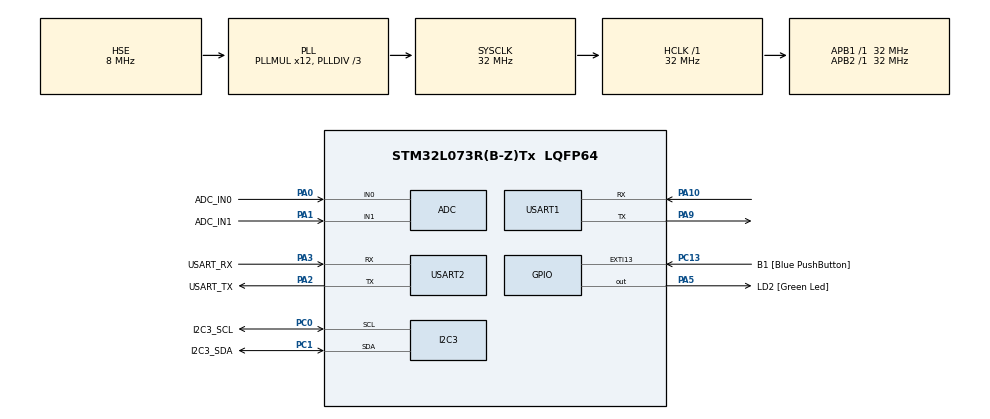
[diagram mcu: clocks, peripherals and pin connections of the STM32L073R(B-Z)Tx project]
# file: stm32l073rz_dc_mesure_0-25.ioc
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ADC.ClockPrescaler=ADC_CLOCK_ASYNC_DIV1
ADC.ContinuousConvMode=DISABLE
ADC.SamplingTime=ADC_SAMPLETIME_79CYCLES_5
Dma.ADC.0.Direction=DMA_PERIPH_TO_MEMORY
Dma.ADC.0.Instance=DMA1_Channel1
Dma.ADC.0.MemDataAlignment=DMA_MDATAALIGN_HALFWORD
Dma.ADC.0.MemInc=DMA_MINC_ENABLE
Dma.ADC.0.Mode=DMA_NORMAL
Dma.ADC.0.PeriphDataAlignment=DMA_PDATAALIGN_HALFWORD
Dma.ADC.0.PeriphInc=DMA_PINC_DISABLE
Dma.ADC.0.Priority=DMA_PRIORITY_LOW
Dma.Request0=ADC
I2C3.Timing=0x00707CBB
Mcu.Family=STM32L0
Mcu.Name=STM32L073R(B-Z)Tx
Mcu.Package=LQFP64
NVIC.ADC1_COMP_IRQn=true\:0\:0\:false\:false\:true\:true\:true\:true
NVIC.DMA1_Channel1_IRQn=true\:0\:0\:false\:false\:true\:false\:true\:true
NVIC.TIM6_DAC_IRQn=true\:0\:0\:false\:false\:true\:true\:true\:true
NVIC.USART2_IRQn=true\:0\:0\:false\:false\:true\:true\:true\:true
PA0.GPIO_Label=ADC_IN0
PA0.Mode=IN0
PA0.Signal=ADC_IN0
PA1.GPIO_Label=ADC_IN1
PA1.Mode=IN1
PA1.Signal=ADC_IN1
PA10.Mode=Asynchronous
PA10.Signal=USART1_RX
PA13.GPIO_Label=TMS
PA13.Mode=Serial_Wire
PA13.Signal=SYS_SWDIO
PA14.GPIO_Label=TCK
PA14.Mode=Serial_Wire
PA14.Signal=SYS_SWCLK
PA2.GPIO_Label=USART_TX
PA2.Mode=Asynchronous
PA2.Signal=USART2_TX
PA3.GPIO_Label=USART_RX
PA3.Mode=Asynchronous
PA3.Signal=USART2_RX
PA5.GPIO_Label=LD2 [Green Led]
PA5.Signal=GPIO_Output
PA9.Mode=Asynchronous
PA9.Signal=USART1_TX
PC0.GPIO_Label=I2C3_SCL
PC0.Mode=I2C
PC0.Signal=I2C3_SCL
PC1.GPIO_Label=I2C3_SDA
PC1.Mode=I2C
PC1.Signal=I2C3_SDA
PC13.GPIO_Label=B1 [Blue PushButton]
PC13.GPIO_ModeDefaultEXTI=GPIO_MODE_IT_FALLING
PC13.Signal=GPXTI13
PC14-OSC32_IN.Mode=LSE-External-Oscillator
PC14-OSC32_IN.Signal=RCC_OSC32_IN
PC15-OSC32_OUT.Mode=LSE-External-Oscillator
PC15-OSC32_OUT.Signal=RCC_OSC32_OUT
PH0-OSC_IN.GPIO_Label=MCO
PH0-OSC_IN.Mode=HSE-External-Clock-Source
PH0-OSC_IN.Signal=RCC_OSC_IN
ProjectManager.HeapSize=0x200
ProjectManager.StackSize=0x400
ProjectManager.TargetToolchain=MDK-ARM V5.32
RCC.AHBFreq_Value=32000000
RCC.APB1Freq_Value=32000000
RCC.APB1TimFreq_Value=32000000
RCC.APB2Freq_Value=32000000
RCC.APB2TimFreq_Value=32000000
RCC.HCLKFreq_Value=32000000
RCC.HSE_VALUE=8000000
RCC.HSI16_VALUE=16000000
RCC.HSI48_VALUE=48000000
RCC.HSI_VALUE=16000000
RCC.MSI_VALUE=2097000
RCC.PLLDIV=RCC_PLLDIV_3
RCC.PLLMUL=RCC_PLLMUL_12
RCC.PLLSourceVirtual=RCC_PLLSOURCE_HSE
RCC.PREFETCH_ENABLE=1
RCC.SYSCLKFreq_VALUE=32000000
RCC.SYSCLKSource=RCC_SYSCLKSOURCE_PLLCLK
RCC.VCOOutputFreq_Value=96000000
TIM6.AutoReloadPreload=TIM_AUTORELOAD_PRELOAD_ENABLE
TIM6.Period=128
TIM6.Prescaler=25000
USART1.VirtualMode-Asynchronous=VM_ASYNC
USART2.VirtualMode-Asynchronous=VM_ASYNC
VP_TIM6_VS_ClockSourceINT.Mode=Enable_Timer
board=NUCLEO-L073RZ

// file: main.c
/* USER CODE BEGIN Header */
/**
  ******************************************************************************
  * @file           : main.c
  * @brief          : Main program body
  ******************************************************************************
  * @attention
  *
  * Copyright (c) 2024 STMicroelectronics.
  * All rights reserved.
  *
  * This software is licensed under terms that can be found in the LICENSE file
  * in the root directory of this software component.
  * If no LICENSE file comes with this software, it is provided AS-IS.
  *
  ******************************************************************************
  */
/* USER CODE END Header */
#include "main.h"

/* USER CODE BEGIN Includes */
#include "math.h"
#include "sc_types.h"
#include "Statechart.h"
#include "Statechart_required.h"

#include "ssd1306.h"
#include "fonts.h"
#include <stdio.h>

/* USER CODE END Includes */

ADC_HandleTypeDef hadc;
DMA_HandleTypeDef hdma_adc;

I2C_HandleTypeDef hi2c3;

TIM_HandleTypeDef htim6;

UART_HandleTypeDef huart1;
UART_HandleTypeDef huart2;

void SystemClock_Config(void);
static void MX_GPIO_Init(void);
static void MX_DMA_Init(void);
static void MX_ADC_Init(void);
static void MX_I2C3_Init(void);
static void MX_TIM6_Init(void);
static void MX_USART1_UART_Init(void);
static void MX_USART2_UART_Init(void);

/* USER CODE BEGIN 0 */
#define BUFFERLEN 20
#define NUM_ADC_CHANNELS 2

//uint16_t Voltage[NUM_ADC_CHANNELS];
uint16_t DataBufferADC[BUFFERLEN][NUM_ADC_CHANNELS];
uint32_t  SumSensorsADC[NUM_ADC_CHANNELS];
float AverageSensorsADC[NUM_ADC_CHANNELS];

Statechart sc_handle; // Statechart pointer

/* Definition of ADCx conversions data table size */
#define ADC_CONVERTED_DATA_BUFFER_SIZE ((uint32_t) 32) /* Size of array aADCxConvertedData[] */
/* Variable containing ADC conversions data */
static uint16_t aADCxConvertedData[ADC_CONVERTED_DATA_BUFFER_SIZE];

uint16_t voltage[NUM_ADC_CHANNELS];
float NTC_Voltage[2];
float LDR_Voltage[2];
float LDR_Voltage2[2];
int outvoltage[2];
int outvoltage2[2];
uint8_t TxBuffer[40];
uint8_t RxBuffer[40];
int i;
typedef enum {UART_READY,UART_BUSY,UART_FINISHED} UART_Status;
UART_Status Status=UART_READY;

void HAL_UART_TxCpltCallback(UART_HandleTypeDef *huart)
{
if (Status==UART_BUSY)
 Status=UART_READY; // transmition finished, can send more if needed
}
void HandleError()
{
uint32_t uart_err;
uart_err=HAL_UART_GetError(&huart2);
}
void MyErrorHandlerADC()
{
}

/* Start ADC conversion in channal whose number is passed as parameter "channel"*/
sc_integer statechart_startConvADC( Statechart* handle, const sc_integer channel)
{
		if (HAL_ADC_Start_DMA(&hadc,(uint32_t *)aADCxConvertedData,
						NUM_ADC_CHANNELS) != HAL_OK)
			{
			MyErrorHandlerADC();// handle error};
			return 0;
			}
 return 1;
}

/* Read ADC sample from register and store in DataBUffer */
sc_integer statechart_readADCSample( Statechart* handle, const sc_integer channel)
{
		if (channel==1) // read from DMA memory when all channels are sampled
		{
		 voltage[0]=aADCxConvertedData[0];
		 voltage[1]=aADCxConvertedData[1];
		 }
 return 1;
}
sc_integer statechart_saveADCSample( Statechart* handle, const sc_integer channel, const sc_integer sample)
{
for (int i=0;i<NUM_ADC_CHANNELS;i++)
	DataBufferADC[sample][i]=voltage[i];
 return 1;
}

/* Calculate average values of acquired sensor readings */
void statechart_processData(Statechart* handle)
{
 int j;
 uint32_t sum2[NUM_ADC_CHANNELS];

 for( j=0;j<NUM_ADC_CHANNELS;j++)
		sum2[j]=0;
 for(int i=0;i<BUFFERLEN;i++)
 {
	for(j=0;j<NUM_ADC_CHANNELS;j++)
		sum2[j]+=DataBufferADC[i][j];
	}
  //Driving_Voltage=AverageSensorsADC[0];
	for(j=0;j<NUM_ADC_CHANNELS;j++)
	  AverageSensorsADC[j]=sum2[j]/BUFFERLEN;

	// Curve 44
	for(j=0;j<NUM_ADC_CHANNELS;j++){
	  //NTC_Temperature[j]=1/(A_44+B_44*log(AverageSensorsADC[j])+C_44*pow(log(AverageSensorsADC[j]),2)+D_44*pow(log(AverageSensorsADC[j]),3))-273; // in Celcijus
		LDR_Voltage[j]=(AverageSensorsADC[j]-50)/4095*25.8;
		LDR_Voltage2[j]=(AverageSensorsADC[j]-50)/4095*3.3;
	}

}

void statechart_displayInfo( Statechart* handle)
{
	#ifndef DISABLE_DISPLAY
 static char string_display[30];
	if(LDR_Voltage[0]>=3){
// Display analog sensors readings
 ssd1306_SetCursor(0, 0); // ssd1306_SetCursor(0, 14);
 sprintf(string_display,"U1=%.1f V ",LDR_Voltage[0]);
 ssd1306_WriteString(string_display,Font_11x18, White);
	}
	if(LDR_Voltage2[0]<=3)
	{
ssd1306_SetCursor(0, 0); // ssd1306_SetCursor(0, 14);
 sprintf(string_display,"U1=%.1f V ",LDR_Voltage2[0]);
 ssd1306_WriteString(string_display,Font_11x18, White);
	}

	if(LDR_Voltage2[1]>=3){
 ssd1306_SetCursor(0, 22); // ssd1306_SetCursor(0, 14);
 sprintf(string_display,"U2=%.1f V ",LDR_Voltage[1]);
 ssd1306_WriteString(string_display,Font_11x18, White);
	}

	if(LDR_Voltage2[0]<=3)
		{
 ssd1306_SetCursor(0, 22); // ssd1306_SetCursor(0, 14);
 sprintf(string_display,"U2=%.1f V ",LDR_Voltage2[1]);
 ssd1306_WriteString(string_display,Font_11x18, White);
	}
// Copy all data from local screenbuffer to the screen
	ssd1306_UpdateScreen(&hi2c3);
	#endif
	//DEBUG_EVENT_DISPLAY();

}
void statechart_sendInfo( Statechart* handle)
{
	if(Status==UART_READY)
	{
		if(LDR_Voltage2[0]<=3){
		sprintf((char *)TxBuffer,"CH1: %.1f V CH2: %.1f V \n\r",LDR_Voltage2[0],LDR_Voltage2[1]);
		}
		else{
		sprintf((char *)TxBuffer,"CH1: %.1f V CH2: %.1f V \n\r",LDR_Voltage[0],LDR_Voltage[1]);
		}
 if (HAL_UART_Transmit_IT(&huart2,TxBuffer,strlen(TxBuffer))!=HAL_OK)
 {
		HandleError();
 }
 else
	 Status=UART_BUSY;
 }
}

void HAL_TIM_PeriodElapsedCallback(TIM_HandleTypeDef *htim)
{

  if (htim==&htim6)
	{
		HAL_ResumeTick(); // Enable SysTick after wake-up
		statechart_raise_ev_GetSample(&sc_handle); //raise event TimerIntr in statechart
	}
}
void HAL_ADC_ConvCpltCallback(ADC_HandleTypeDef *hadc)
{

	HAL_ResumeTick(); // Enable SysTick after wake-up
	statechart_raise_ev_ADCSampleReady(&sc_handle); //raise event TimerIntr in statechart
}

static void SYSCLKConfig_STOP(void)
{
  RCC_ClkInitTypeDef RCC_ClkInitStruct = {0};
  RCC_OscInitTypeDef RCC_OscInitStruct = {0};
  uint32_t pFLatency = 0;

  /* Enable Power Control clock */
  __HAL_RCC_PWR_CLK_ENABLE();

  /* Get the Oscillators configuration according to the internal RCC registers */
  HAL_RCC_GetOscConfig(&RCC_OscInitStruct);

  RCC_OscInitStruct.OscillatorType = RCC_OSCILLATORTYPE_NONE;
  RCC_OscInitStruct.PLL.PLLState = RCC_PLL_ON;
  if (HAL_RCC_OscConfig(&RCC_OscInitStruct) != HAL_OK)
  {
    Error_Handler();
  }

  /* Get the Clocks configuration according to the internal RCC registers */
  HAL_RCC_GetClockConfig(&RCC_ClkInitStruct, &pFLatency);

  /* Select PLL as system clock source and configure the HCLK, PCLK1 and PCLK2
     clocks dividers */
  RCC_ClkInitStruct.ClockType     = RCC_CLOCKTYPE_SYSCLK;
  RCC_ClkInitStruct.SYSCLKSource  = RCC_SYSCLKSOURCE_PLLCLK;
  if (HAL_RCC_ClockConfig(&RCC_ClkInitStruct, pFLatency) != HAL_OK)
  {
    Error_Handler();
  }
}

/* USER CODE END 0 */

int main(void)
{

  /* MCU Configuration--------------------------------------------------------*/

  /* Reset of all peripherals, Initializes the Flash interface and the Systick. */
  HAL_Init();

  /* Configure the system clock */
  SystemClock_Config();

  /* Initialize all configured peripherals */
  MX_GPIO_Init();
  MX_DMA_Init();
  MX_ADC_Init();
  MX_I2C3_Init();
  MX_TIM6_Init();
  MX_USART1_UART_Init();
  MX_USART2_UART_Init();
  /* USER CODE BEGIN 2 */
	#ifndef DISABLE_DISPLAY
	// Init lcd using one of the stm32HAL i2c typedefs
 ssd1306_Init(&hi2c3);
 // Write data to local screenbuffer
 /*ssd1306_SetCursor(0,0);
 ssd1306_WriteString("Starting ...",Font_11x18, White);
 ssd1306_SetCursor(0, 12);*/

 // Copy all data from local screenbuffer to the screen
 ssd1306_UpdateScreen(&hi2c3);
 #endif

 #ifndef DISABLE_PROCESSING
 statechart_init(&sc_handle); // initialize state machine
 statechart_enter(&sc_handle); // run state machine

 if(HAL_TIM_Base_Start_IT(&htim6) != HAL_OK) //run TIM6 timer
 {
 //ErrorHandler();
 }
 #endif
	//HAL_ADC_Start(&hadc);

	//ssd1306_Init(&hi2c3);
	//ssd1306_Fill(White);
	//ssd1306_UpdateScreen(&hi2c3);
	static char string_display[30];

  /* USER CODE END 2 */

  /* Infinite loop */
  while (1)
  {

  }
}

void SystemClock_Config(void)
{
  RCC_OscInitTypeDef RCC_OscInitStruct = {0};
  RCC_ClkInitTypeDef RCC_ClkInitStruct = {0};
  RCC_PeriphCLKInitTypeDef PeriphClkInit = {0};

  /** Configure the main internal regulator output voltage
  */
  __HAL_PWR_VOLTAGESCALING_CONFIG(PWR_REGULATOR_VOLTAGE_SCALE1);

  /** Initializes the RCC Oscillators according to the specified parameters
  * in the RCC_OscInitTypeDef structure.
  */
  RCC_OscInitStruct.OscillatorType = RCC_OSCILLATORTYPE_HSI|RCC_OSCILLATORTYPE_HSE;
  RCC_OscInitStruct.HSEState = RCC_HSE_BYPASS;
  RCC_OscInitStruct.HSIState = RCC_HSI_ON;
  RCC_OscInitStruct.HSICalibrationValue = RCC_HSICALIBRATION_DEFAULT;
  RCC_OscInitStruct.PLL.PLLState = RCC_PLL_ON;
  RCC_OscInitStruct.PLL.PLLSource = RCC_PLLSOURCE_HSE;
  RCC_OscInitStruct.PLL.PLLMUL = RCC_PLLMUL_12;
  RCC_OscInitStruct.PLL.PLLDIV = RCC_PLLDIV_3;
  if (HAL_RCC_OscConfig(&RCC_OscInitStruct) != HAL_OK)
  {
    Error_Handler();
  }

  /** Initializes the CPU, AHB and APB buses clocks
  */
  RCC_ClkInitStruct.ClockType = RCC_CLOCKTYPE_HCLK|RCC_CLOCKTYPE_SYSCLK
                              |RCC_CLOCKTYPE_PCLK1|RCC_CLOCKTYPE_PCLK2;
  RCC_ClkInitStruct.SYSCLKSource = RCC_SYSCLKSOURCE_PLLCLK;
  RCC_ClkInitStruct.AHBCLKDivider = RCC_SYSCLK_DIV1;
  RCC_ClkInitStruct.APB1CLKDivider = RCC_HCLK_DIV1;
  RCC_ClkInitStruct.APB2CLKDivider = RCC_HCLK_DIV1;

  if (HAL_RCC_ClockConfig(&RCC_ClkInitStruct, FLASH_LATENCY_1) != HAL_OK)
  {
    Error_Handler();
  }
  PeriphClkInit.PeriphClockSelection = RCC_PERIPHCLK_USART1|RCC_PERIPHCLK_USART2
                              |RCC_PERIPHCLK_I2C3;
  PeriphClkInit.Usart1ClockSelection = RCC_USART1CLKSOURCE_PCLK2;
  PeriphClkInit.Usart2ClockSelection = RCC_USART2CLKSOURCE_PCLK1;
  PeriphClkInit.I2c3ClockSelection = RCC_I2C3CLKSOURCE_PCLK1;
  if (HAL_RCCEx_PeriphCLKConfig(&PeriphClkInit) != HAL_OK)
  {
    Error_Handler();
  }
}

static void MX_ADC_Init(void)
{

  ADC_ChannelConfTypeDef sConfig = {0};

  /** Configure the global features of the ADC (Clock, Resolution, Data Alignment and number of conversion)
  */
  hadc.Instance = ADC1;
  hadc.Init.OversamplingMode = DISABLE;
  hadc.Init.ClockPrescaler = ADC_CLOCK_ASYNC_DIV1;
  hadc.Init.Resolution = ADC_RESOLUTION_12B;
  hadc.Init.SamplingTime = ADC_SAMPLETIME_79CYCLES_5;
  hadc.Init.ScanConvMode = ADC_SCAN_DIRECTION_FORWARD;
  hadc.Init.DataAlign = ADC_DATAALIGN_RIGHT;
  hadc.Init.ContinuousConvMode = DISABLE;
  hadc.Init.DiscontinuousConvMode = DISABLE;
  hadc.Init.ExternalTrigConvEdge = ADC_EXTERNALTRIGCONVEDGE_NONE;
  hadc.Init.ExternalTrigConv = ADC_SOFTWARE_START;
  hadc.Init.DMAContinuousRequests = DISABLE;
  hadc.Init.EOCSelection = ADC_EOC_SINGLE_CONV;
  hadc.Init.Overrun = ADC_OVR_DATA_PRESERVED;
  hadc.Init.LowPowerAutoWait = DISABLE;
  hadc.Init.LowPowerFrequencyMode = DISABLE;
  hadc.Init.LowPowerAutoPowerOff = DISABLE;
  if (HAL_ADC_Init(&hadc) != HAL_OK)
  {
    Error_Handler();
  }

  /** Configure for the selected ADC regular channel to be converted.
  */
  sConfig.Channel = ADC_CHANNEL_0;
  sConfig.Rank = ADC_RANK_CHANNEL_NUMBER;
  if (HAL_ADC_ConfigChannel(&hadc, &sConfig) != HAL_OK)
  {
    Error_Handler();
  }

  /** Configure for the selected ADC regular channel to be converted.
  */
  sConfig.Channel = ADC_CHANNEL_1;
  if (HAL_ADC_ConfigChannel(&hadc, &sConfig) != HAL_OK)
  {
    Error_Handler();
  }

}

static void MX_I2C3_Init(void)
{

  hi2c3.Instance = I2C3;
  hi2c3.Init.Timing = 0x00707CBB;
  hi2c3.Init.OwnAddress1 = 0;
  hi2c3.Init.AddressingMode = I2C_ADDRESSINGMODE_7BIT;
  hi2c3.Init.DualAddressMode = I2C_DUALADDRESS_DISABLE;
  hi2c3.Init.OwnAddress2 = 0;
  hi2c3.Init.OwnAddress2Masks = I2C_OA2_NOMASK;
  hi2c3.Init.GeneralCallMode = I2C_GENERALCALL_DISABLE;
  hi2c3.Init.NoStretchMode = I2C_NOSTRETCH_DISABLE;
  if (HAL_I2C_Init(&hi2c3) != HAL_OK)
  {
    Error_Handler();
  }

  /** Configure Analogue filter
  */
  if (HAL_I2CEx_ConfigAnalogFilter(&hi2c3, I2C_ANALOGFILTER_ENABLE) != HAL_OK)
  {
    Error_Handler();
  }

  /** Configure Digital filter
  */
  if (HAL_I2CEx_ConfigDigitalFilter(&hi2c3, 0) != HAL_OK)
  {
    Error_Handler();
  }

}

static void MX_TIM6_Init(void)
{

  TIM_MasterConfigTypeDef sMasterConfig = {0};

  htim6.Instance = TIM6;
  htim6.Init.Prescaler = 25000;
  htim6.Init.CounterMode = TIM_COUNTERMODE_UP;
  htim6.Init.Period = 128;
  htim6.Init.AutoReloadPreload = TIM_AUTORELOAD_PRELOAD_ENABLE;
  if (HAL_TIM_Base_Init(&htim6) != HAL_OK)
  {
    Error_Handler();
  }
  sMasterConfig.MasterOutputTrigger = TIM_TRGO_RESET;
  sMasterConfig.MasterSlaveMode = TIM_MASTERSLAVEMODE_DISABLE;
  if (HAL_TIMEx_MasterConfigSynchronization(&htim6, &sMasterConfig) != HAL_OK)
  {
    Error_Handler();
  }

}

static void MX_USART1_UART_Init(void)
{

  huart1.Instance = USART1;
  huart1.Init.BaudRate = 115200;
  huart1.Init.WordLength = UART_WORDLENGTH_8B;
  huart1.Init.StopBits = UART_STOPBITS_1;
  huart1.Init.Parity = UART_PARITY_NONE;
  huart1.Init.Mode = UART_MODE_TX_RX;
  huart1.Init.HwFlowCtl = UART_HWCONTROL_NONE;
  huart1.Init.OverSampling = UART_OVERSAMPLING_16;
  huart1.Init.OneBitSampling = UART_ONE_BIT_SAMPLE_DISABLE;
  huart1.AdvancedInit.AdvFeatureInit = UART_ADVFEATURE_NO_INIT;
  if (HAL_UART_Init(&huart1) != HAL_OK)
  {
    Error_Handler();
  }

}

static void MX_USART2_UART_Init(void)
{

  huart2.Instance = USART2;
  huart2.Init.BaudRate = 115200;
  huart2.Init.WordLength = UART_WORDLENGTH_8B;
  huart2.Init.StopBits = UART_STOPBITS_1;
  huart2.Init.Parity = UART_PARITY_NONE;
  huart2.Init.Mode = UART_MODE_TX_RX;
  huart2.Init.HwFlowCtl = UART_HWCONTROL_NONE;
  huart2.Init.OverSampling = UART_OVERSAMPLING_16;
  huart2.Init.OneBitSampling = UART_ONE_BIT_SAMPLE_DISABLE;
  huart2.AdvancedInit.AdvFeatureInit = UART_ADVFEATURE_NO_INIT;
  if (HAL_UART_Init(&huart2) != HAL_OK)
  {
    Error_Handler();
  }

}

static void MX_DMA_Init(void)
{

  /* DMA controller clock enable */
  __HAL_RCC_DMA1_CLK_ENABLE();

  /* DMA interrupt init */
  /* DMA1_Channel1_IRQn interrupt configuration */
  HAL_NVIC_SetPriority(DMA1_Channel1_IRQn, 0, 0);
  HAL_NVIC_EnableIRQ(DMA1_Channel1_IRQn);

}

static void MX_GPIO_Init(void)
{
  GPIO_InitTypeDef GPIO_InitStruct = {0};

  /* GPIO Ports Clock Enable */
  __HAL_RCC_GPIOC_CLK_ENABLE();
  __HAL_RCC_GPIOH_CLK_ENABLE();
  __HAL_RCC_GPIOA_CLK_ENABLE();

  /*Configure GPIO pin Output Level */
  HAL_GPIO_WritePin(LD2_GPIO_Port, LD2_Pin, GPIO_PIN_RESET);

  /*Configure GPIO pin : B1_Pin */
  GPIO_InitStruct.Pin = B1_Pin;
  GPIO_InitStruct.Mode = GPIO_MODE_IT_FALLING;
  GPIO_InitStruct.Pull = GPIO_NOPULL;
  HAL_GPIO_Init(B1_GPIO_Port, &GPIO_InitStruct);

  /*Configure GPIO pin : LD2_Pin */
  GPIO_InitStruct.Pin = LD2_Pin;
  GPIO_InitStruct.Mode = GPIO_MODE_OUTPUT_PP;
  GPIO_InitStruct.Pull = GPIO_NOPULL;
  GPIO_InitStruct.Speed = GPIO_SPEED_FREQ_LOW;
  HAL_GPIO_Init(LD2_GPIO_Port, &GPIO_InitStruct);

}

void Error_Handler(void)
{
  __disable_irq();
  while (1)
  {
  }
}
